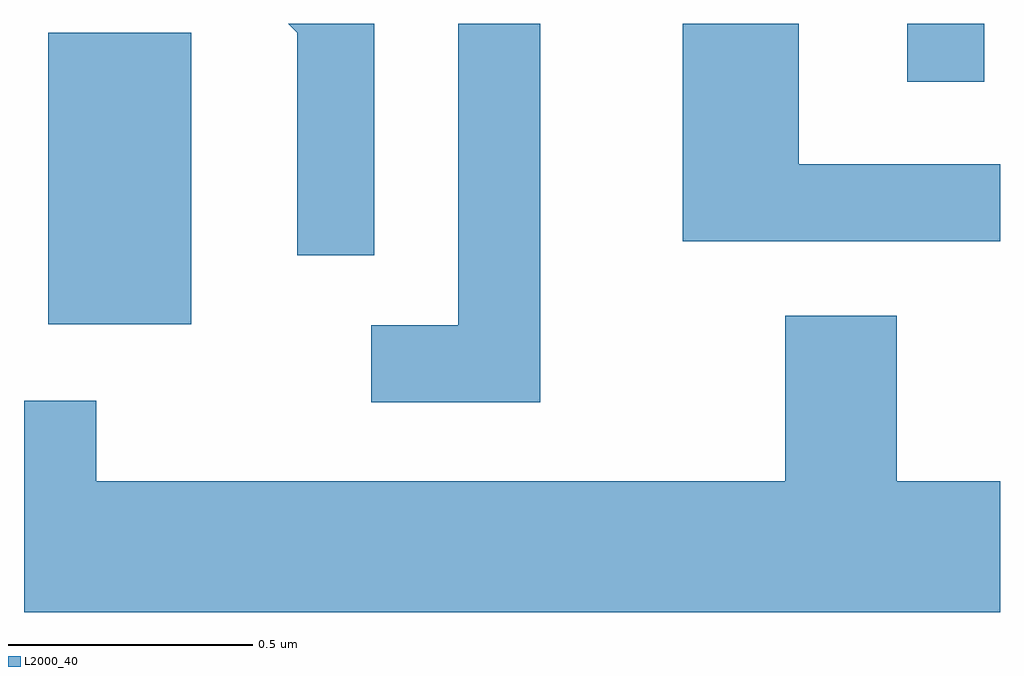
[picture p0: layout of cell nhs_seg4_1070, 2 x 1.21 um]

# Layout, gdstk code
import gdstk
lib = gdstk.Library(unit=1e-6, precision=1e-09)
def R(c, l, rs):  # rectangles x0, y0, x1, y1
    for r in rs: c.add(gdstk.rectangle(r[:2], r[2:], *l))
def P(c, l, *ps):  # polygons
    for p in ps: c.add(gdstk.Polygon(p, *l))
L2000_40 = (2000, 40)

nhs_seg4_1070 = lib.new_cell('nhs_seg4_1070')
R(nhs_seg4_1070, L2000_40, [(192.661,1366.366,192.954,1366.964), (194.421,1366.863,194.579,1366.982)])
P(nhs_seg4_1070, L2000_40, [(193.669,1366.982),(193.501,1366.982),(193.501,1366.364),(193.323,1366.364),(193.323,1366.206),(193.669,1366.206)],
  [(194.611,1366.694),(194.199,1366.694),(194.199,1366.982),(193.961,1366.982),(193.961,1366.536),(194.611,1366.536)],
  [(193.329,1366.982),(193.153,1366.982),(193.171,1366.964),(193.171,1366.508),(193.329,1366.508)],
  [(194.611,1366.044),(194.399,1366.044),(194.399,1366.384),(194.171,1366.384),(194.171,1366.044),(192.759,1366.044),(192.759,1366.209),(192.611,1366.209),(192.611,1365.776),(194.611,1365.776)])

lib.write_gds('nhs_seg4_1070.gds')
